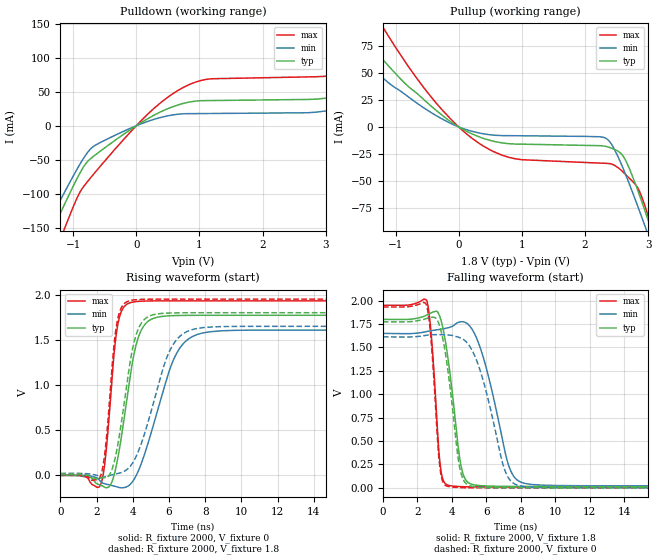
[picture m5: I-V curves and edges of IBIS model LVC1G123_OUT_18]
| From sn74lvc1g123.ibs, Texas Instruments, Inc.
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[Model]   LVC1G123_OUT_18
Model_type  Output
Vref =   0
Rref =   1000
Cref =   30p
Vmeas =   0.9
| variable   typ   min   max
C_comp   9.52pF   6.26pF   14.83pF
| C_pullup   8.88pF   6.26pF   10.00pF
| C_pulldown   10.16pF   6.79pF   14.83pF
[Temperature Range]   40   100   -40
| Ambient temperature   25   85   -40
[Voltage range]   1.8   1.65   1.95
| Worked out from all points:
|   slope of the pulldown table from 0 to 0.27 V, typ, clamps not added: 18.1 ohm
|   slope of the pullup table from 0 to 0.27 V, typ, clamps not added: 34.1 ohm
|   rising waveform, R_fixture 2000, V_fixture 0: 20-80 % time 840ps typ, 1.48ns min, 495ps max; typ from 0 V to 1.77 V
|   falling waveform, R_fixture 2000, V_fixture 1.8: 20-80 % time 684ps typ, 1.2ns min, 407ps max; typ from 1.8 V to 0.015 V
|   rising waveform, R_fixture 2000, V_fixture 1.8: 20-80 % time 835ps typ, 1.46ns min, 497ps max; typ from 0.015 V to 1.8 V
|   falling waveform, R_fixture 2000, V_fixture 0: 20-80 % time 695ps typ, 1.29ns min, 411ps max; typ from 1.77 V to 0 V
[Pulldown]
| LVC1G123_OUT_18
|   Voltage   I(typ)   I(min)   I(max)
-5.5V     -993.8mA   -896.2mA   -1.171A
-1.51V    -190.7mA   -164.7mA   -241.2mA
-1.29V    -146.1mA   -125mA     -188mA
-1.12V    -112.2mA   -94.87mA   -147.2mA
-655mV    -43.33mA   -28.95mA   -68.82mA
755mV     33.07mA    17.66mA    56.76mA
3.21V     44.27mA    25.25mA    76.15mA
4.215V    74.86mA    20mA       122.7mA
4.445V    43.94mA    20.12mA    137.1mA
4.62V     41.3mA     20.21mA    144.8mA
5.01V     41.55mA    20.42mA    77.43mA
11V       47.14mA    23.52mA    86.61mA
[Pullup]
| LVC1G123_OUT_18
|   Voltage   I(typ)   I(min)   I(max)
-5.5V     435.3mA    245.9mA    618mA
-2.22V    138.3mA    103.9mA    200.1mA
-1.75V    101.4mA    75.24mA    148mA
-1.195V   61.89mA    44.94mA    91.75mA
-375mV    16.22mA    11.11mA    23.37mA
420mV     -11.1mA    -6.621mA   -18.69mA
995mV     -15.91mA   -8.182mA   -30.28mA
2.335V    -18.04mA   -10.65mA   -33.66mA
2.625V    -29.02mA   -41.39mA   -42.99mA
2.96V     -79.35mA   -93.31mA   -74.97mA
3.095V    -102.8mA   -115.5mA   -100.1mA
11V       -1.667A    -1.558A    -1.882A
[Ramp]
| LVC1G123_OUT_18
| variable   typ   min   max
dV/dt_r   1.14/9.03E-10   1.05/1.60E-09   1.24/5.30E-10
dV/dt_f   1.12/7.31E-10   1.05/1.33E-09   1.20/4.28E-10
R_load = 2000
[Rising Waveform]
| LVC1G123_OUT_18
R_fixture =   2000
C_fixture =   0
L_fixture =   0
V_fixture =   0
V_fixture_min = 0
V_fixture_max = 0
|   Time   V(typ)   V(min)   V(max)
0s        123.4pV    8.622nV    2.747nV
2.225ns   -108mV     -68.69mV   -100.3mV
2.5ns     -135.7mV   -94.7mV    220.6mV
2.945ns   -10.04mV   -116.7mV   1.306V
3.145ns   166.1mV    -127.5mV   1.641V
3.94ns    1.205V     -79.5mV    1.915V
4.68ns    1.673V     254.9mV    1.929V
6.31ns    1.768V     1.308V     1.931V
7.82ns    1.771V     1.574V     1.931V
40ns      1.771V     1.609V     1.931V
[Falling Waveform]
| LVC1G123_OUT_18
R_fixture =   2000
C_fixture =   0
L_fixture =   0
V_fixture =   1.8
V_fixture_min = 1.65
V_fixture_max = 1.95
|   Time   V(typ)   V(min)   V(max)
0s        1.8V       1.65V      1.95V
2.555ns   1.847V     1.671V     1.997V
2.825ns   1.871V     1.68V      1.598V
3.32ns    1.821V     1.693V     256.1mV
3.8ns     1.358V     1.711V     27.47mV
4.795ns   90.23mV    1.766V     11.79mV
5.805ns   21.91mV    1.409V     10.13mV
7.345ns   15.68mV    216.4mV    9.857mV
8.215ns   15.11mV    48.58mV    9.841mV
40ns      14.74mV    21.39mV    9.826mV
[Rising Waveform]
| LVC1G123_OUT_18
R_fixture =   2000
C_fixture =   0
L_fixture =   0
V_fixture =   1.8
V_fixture_min = 1.65
V_fixture_max = 1.95
|   Time   V(typ)   V(min)   V(max)
0s        14.72mV    21.35mV    9.817mV
2.21ns    -29.47mV   -17.13mV   -8.112mV
2.49ns    -24.76mV   -14.3mV    312.3mV
2.925ns   114.9mV    10.73mV    1.368V
3.11ns    276.8mV    19.58mV    1.671V
3.86ns    1.267V     102.5mV    1.934V
4.555ns   1.707V     404.8mV    1.948V
6.03ns    1.796V     1.375V     1.95V
7.46ns    1.8V       1.622V     1.95V
40ns      1.8V       1.65V      1.95V
[Falling Waveform]
| LVC1G123_OUT_18
R_fixture =   2000
C_fixture =   0
L_fixture =   0
V_fixture =   0
V_fixture_min = 0
V_fixture_max = 0
|   Time   V(typ)   V(min)   V(max)
0s        1.774V     1.613V     1.932V
2.535ns   1.809V     1.631V     1.952V
2.81ns    1.822V     1.636V     1.55V
3.3ns     1.727V     1.637V     233.3mV
3.78ns    1.248V     1.633V     15.25mV
4.715ns   71.66mV    1.58V      1.824mV
5.685ns   5.954mV    1.232V     295.1uV
7.095ns   778.2uV    180.9mV    42uV
7.925ns   309.1uV    22.54mV    23.67uV
40ns      19.08uV    41.08uV    9.089uV
